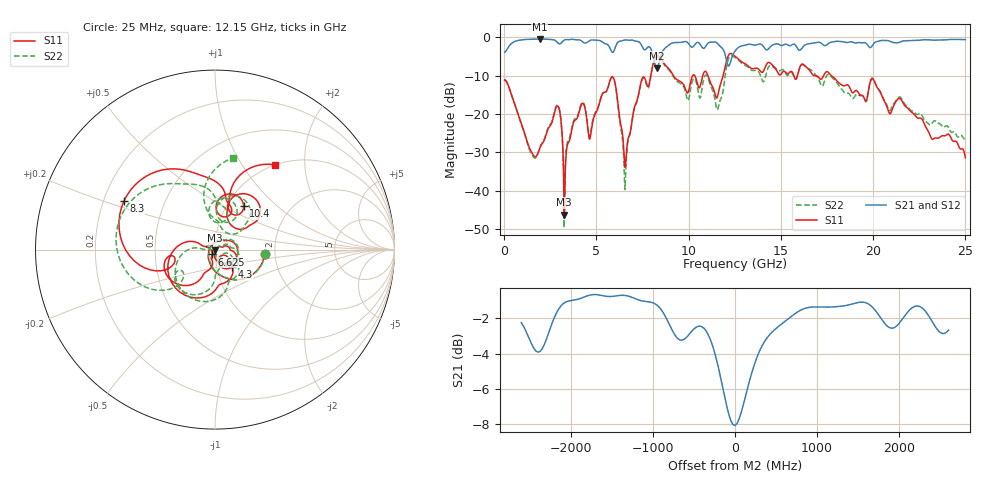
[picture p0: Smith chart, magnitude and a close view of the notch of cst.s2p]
! RG_s4_pwr_n4: Finite board 24 × 16 mm, via L1 → L4 through the GND/PWR pair L2/L3, four GND vias at 1 mm joined to L2 only (openings in the PWR plane L3)
! stackup: 4-layer 1.6 mm FR-4
! ports: 1 L1, 2 L4
! CST Studio Suite 2025.5 Release from 2025-05-30, time domain (FIT, hexahedral, PBA), 293878 mesh cells, 75 s
! mesh: {'lpw': 20, 'lpb': 20, 'minstep': 0.0, 'ratio': 20}; ports: port 1 (face); port 2 (face)
! interpolated from CST's 1001 samples to the case grid
# Hz S RI R 50
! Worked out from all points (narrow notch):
!   1000 points, 25 MHz to 25 GHz, reference 50 ohm
!   highest |S21| = -0.43 dB at 1.925 GHz (marker M1); lowest = -8.1 dB at 8.275 GHz (marker M2)
!   notch at M2: 6.8 dB deep, 437 MHz wide at half that depth
!   lowest |S11| = -46.2 dB at 3.25 GHz (marker M3), VSWR 1.01, Z = 49.9 - j0.469 ohm
!   |S11| at or under -10 dB: start of sweep to 7.944 GHz; 9.177 GHz to 10.22 GHz (1.041 GHz wide, 10.7 % of centre); 17.74 GHz to end of sweep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
!   |S22| runs from -49.6 to -4.7 dB; largest |S21 - S12| = 9.1e-07
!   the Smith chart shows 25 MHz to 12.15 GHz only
!   S11 on the Smith chart (normalised r, x): 25 MHz: 1.77, -0.09; 4.3 GHz: 1.18, -0.24; 6.625 GHz: 0.97, -0.05; 8.3 GHz: 0.29, +0.23; 10.4 GHz: 1.20, +0.64; 12.15 GHz: 1.00, +1.42
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2.5e7  0.2777 -0.0241  0.6407 0.0154  0.6407 0.0154  0.2803 -0.024
1.925e9  -0.00822 0.0347  0.6989 -0.6452  0.6989 -0.6452  -0.00789 0.0351
2.9e9  0.1242 -0.03  0.2946 -0.7984  0.2946 -0.7984  0.1294 -0.0195
3.25e9  -0.00142 -0.0047  0.3063 -0.8702  0.3063 -0.8702  0.00127 -0.00306
4.2e9  0.1207 -0.0598  -0.1638 -0.8804  -0.1638 -0.8804  0.1336 -0.0384
4.3e9  0.094 -0.0984  -0.178 -0.8382  -0.178 -0.8382  0.1143 -0.0804
4.675e9  0.0401 -0.0318  -0.2586 -0.881  -0.2586 -0.881  0.0503 -0.0222
5.9e9  -0.2404 -0.1859  -0.4242 -0.4786  -0.4242 -0.4786  -0.169 -0.2448
6.625e9  -0.015 -0.0269  -0.8106 -0.4479  -0.8106 -0.4479  0.00495 -0.0272
7.425e9  -0.1727 -0.2004  -0.8055 0.0531  -0.8055 0.0531  -0.0775 -0.2463
8.275e9  -0.5217 0.2325  -0.3933 0.0308  -0.3933 0.0308  -0.5514 0.0501
8.3e9  -0.5073 0.2704  -0.3997 0.00112  -0.3997 0.00112  -0.5496 0.091
8.35e9  -0.4661 0.3372  -0.4261 -0.0515  -0.4261 -0.0515  -0.5311 0.1683
9.1e9  0.0455 0.3367  -0.8292 0.1578  -0.8292 0.1578  -0.0266 0.3279
1.04e10  0.16 0.2429  -0.5749 0.6124  -0.5749 0.6124  0.1181 0.2388
1.16e10  0.0711 0.1686  -0.0263 0.8163  -0.0263 0.8163  0.0408 0.1134
1.215e10  0.335 0.4724  0.0133 0.4262  0.0133 0.4262  0.1009 0.5106
1.2525e10  0.5421 0.1569  -0.1352 0.6556  -0.1352 0.6556  0.4565 0.2961
1.6675e10  0.000276 -0.3381  0.838 0.0357  0.838 0.0357  0.0701 -0.3624
1.9975e10  -0.2482 -0.1496  0.2912 -0.7376  0.2912 -0.7376  -0.1453 -0.2545
2.085e10  -0.1057 0.00751  -0.1016 -0.8974  -0.1016 -0.8974  -0.0943 -0.0625
2.5e10  0.0268 0.00287  -0.9083 0.2237  -0.9083 0.2237  -0.0485 0.0106
